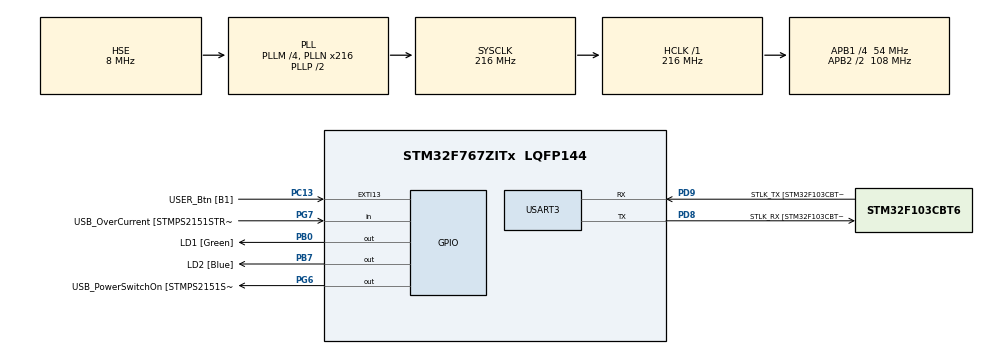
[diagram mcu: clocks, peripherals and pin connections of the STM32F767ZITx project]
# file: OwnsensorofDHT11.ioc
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Mcu.Family=STM32F7
Mcu.Name=STM32F767ZITx
Mcu.Package=LQFP144
NVIC.PriorityGroup=NVIC_PRIORITYGROUP_4
PA1.GPIO_Label=RMII_REF_CLK [LAN8742A-CZ-TR_REFCLK0]
PA1.Signal=ETH_REF_CLK
PA10.GPIO_Label=USB_ID
PA10.Signal=USB_OTG_FS_ID
PA11.GPIO_Label=USB_DM
PA11.Signal=USB_OTG_FS_DM
PA12.GPIO_Label=USB_DP
PA12.Signal=USB_OTG_FS_DP
PA13.GPIO_Label=TMS
PA13.Mode=Serial_Wire
PA13.Signal=SYS_JTMS-SWDIO
PA14.GPIO_Label=TCK
PA14.Mode=Serial_Wire
PA14.Signal=SYS_JTCK-SWCLK
PA2.GPIO_Label=RMII_MDIO [LAN8742A-CZ-TR_MDIO]
PA2.Signal=ETH_MDIO
PA7.GPIO_Label=RMII_CRS_DV [LAN8742A-CZ-TR_CRS_DV]
PA7.Signal=ETH_CRS_DV
PA8.GPIO_Label=USB_SOF [TP1]
PA8.Signal=USB_OTG_FS_SOF
PA9.GPIO_Label=USB_VBUS
PA9.Signal=USB_OTG_FS_VBUS
PB0.GPIO_Label=LD1 [Green]
PB0.Signal=GPIO_Output
PB13.GPIO_Label=RMII_TXD1 [LAN8742A-CZ-TR_TXD1]
PB13.Signal=ETH_TXD1
PB3.GPIO_Label=SWO
PB3.Signal=SYS_JTDO-SWO
PB7.GPIO_Label=LD2 [Blue]
PB7.Signal=GPIO_Output
PC1.GPIO_Label=RMII_MDC [LAN8742A-CZ-TR_MDC]
PC1.Signal=ETH_MDC
PC13.GPIO_Label=USER_Btn [B1]
PC13.Signal=GPXTI13
PC14/OSC32_IN.Mode=LSE-External-Oscillator
PC14/OSC32_IN.Signal=RCC_OSC32_IN
PC15/OSC32_OUT.Mode=LSE-External-Oscillator
PC15/OSC32_OUT.Signal=RCC_OSC32_OUT
PC4.GPIO_Label=RMII_RXD0 [LAN8742A-CZ-TR_RXD0]
PC4.Signal=ETH_RXD0
PC5.GPIO_Label=RMII_RXD1 [LAN8742A-CZ-TR_RXD1]
PC5.Signal=ETH_RXD1
PD8.GPIO_Label=STLK_RX [STM32F103CBT6_PA3]
PD8.Mode=Asynchronous
PD8.Signal=USART3_TX
PD9.GPIO_Label=STLK_TX [STM32F103CBT6_PA2]
PD9.Mode=Asynchronous
PD9.Signal=USART3_RX
PG11.GPIO_Label=RMII_TX_EN [LAN8742A-CZ-TR_TXEN]
PG11.Signal=ETH_TX_EN
PG13.GPIO_Label=RMII_TXD0 [LAN8742A-CZ-TR_TXD0]
PG13.Signal=ETH_TXD0
PG6.GPIO_Label=USB_PowerSwitchOn [STMPS2151STR_EN]
PG6.Signal=GPIO_Output
PG7.GPIO_Label=USB_OverCurrent [STMPS2151STR_FAULT]
PG7.Signal=GPIO_Input
PH0/OSC_IN.GPIO_Label=MCO [STM32F103CBT6_PA8]
PH0/OSC_IN.Mode=HSE-External-Oscillator
PH0/OSC_IN.Signal=RCC_OSC_IN
PH1/OSC_OUT.Mode=HSE-External-Oscillator
PH1/OSC_OUT.Signal=RCC_OSC_OUT
ProjectManager.HeapSize=0x200
ProjectManager.StackSize=0x400
ProjectManager.TargetToolchain=MDK-ARM V5.27
RCC.48MHZClocksFreq_Value=24000000
RCC.AHBFreq_Value=216000000
RCC.APB1CLKDivider=RCC_HCLK_DIV4
RCC.APB1Freq_Value=54000000
RCC.APB1TimFreq_Value=108000000
RCC.APB2CLKDivider=RCC_HCLK_DIV2
RCC.APB2Freq_Value=108000000
RCC.APB2TimFreq_Value=216000000
RCC.CortexFreq_Value=216000000
RCC.HCLKFreq_Value=216000000
RCC.HSE_VALUE=8000000
RCC.HSI_VALUE=16000000
RCC.PLLM=4
RCC.PLLMUL=RCC_PLL_MUL9
RCC.PLLN=216
RCC.PLLQ=4
RCC.PLLSourceVirtual=RCC_PLLSOURCE_HSE
RCC.PRESCALERUSB=RCC_USBCLKSOURCE_PLL_DIV1_5
RCC.SYSCLKFreq_VALUE=216000000
RCC.SYSCLKSource=RCC_SYSCLKSOURCE_PLLCLK
RCC.SYSCLKSourceVirtual=RCC_SYSCLKSOURCE_PLLCLK
RCC.USBFreq_Value=108000000
RCC.VCOOutputFreq_Value=432000000
TIM6.AutoReloadPreload=TIM_AUTORELOAD_PRELOAD_ENABLE
TIM6.Period=50000-1
TIM6.Prescaler=107
USART3.VirtualMode-Asynchronous=VM_ASYNC
VP_TIM6_VS_ClockSourceINT.Mode=Enable_Timer
board=NUCLEO-F767ZI

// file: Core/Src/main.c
/* USER CODE BEGIN Header */
/**
  ******************************************************************************
  * @file           : main.c
  * @brief          : Main program body
  ******************************************************************************
  * @attention
  *
  * <h2><center>&copy; Copyright (c) 2021 STMicroelectronics.
  * All rights reserved.</center></h2>
  *
  * This software component is licensed by ST under BSD 3-Clause license,
  * the "License"; You may not use this file except in compliance with the
  * License. You may obtain a copy of the License at:
  *                        opensource.org/licenses/BSD-3-Clause
  *
  ******************************************************************************
  */
/* USER CODE END Header */
#include "main.h"
#include "tim.h"
#include "usart.h"
#include "gpio.h"

/* USER CODE BEGIN Includes */

#include "stdio.h"
#include "string.h"
#include "DHT11.h"

/* USER CODE END Includes */

/* USER CODE BEGIN PD */

/**********************************串口显示打印函数定义************************/
#ifdef __GNUC__
#define PUTCHAR_PROTOTYPE int __io_putchar(int ch)
#else
#define PUTCHAR_PROTOTYPE int fputc(int ch, FILE *f)
#endif /* __GNUC__ */
#define SerialOut printf
/******************************************结束********************************/

/* USER CODE END PD */

/* USER CODE BEGIN PV */

DHT1_Data data = {

		.humi_int = 0,
		.humi_deci = 0,

		.temp_int = 0,
		.temp_deci = 0,

		.check_sum = 0
};

/* USER CODE END PV */

void SystemClock_Config(void);

int main(void)
{
  /* USER CODE BEGIN 1 */

//	uint8_t temperature = 0;
//	uint8_t humidity = 0;

  /* USER CODE END 1 */

  /* MCU Configuration--------------------------------------------------------*/

  /* Reset of all peripherals, Initializes the Flash interface and the Systick. */
  HAL_Init();

  /* Configure the system clock */
  SystemClock_Config();

  /* Initialize all configured peripherals */
  MX_GPIO_Init();
  MX_USART3_UART_Init();
  MX_TIM6_Init();
  /* USER CODE BEGIN 2 */

	MX_GPIO_Init_outpt();                                                                                             // 刚上电时确保上拉电阻拉高一直保持高电平

	printf("DHT11 上电后（DHT11 上电后要等待 1S以上以越过不稳定状态在此期间不能发送任何指令）,之后再发指令\n");

	HAL_Delay(2000);

  /* USER CODE END 2 */

  /* Infinite loop */
  /* USER CODE BEGIN WHILE */
  while (1)
  {
		if(request_start())

			if(DHT1_Orignaldata(&data))

				printf("湿度= %d 温度 = %.1f\n",data.humi_int,(data.temp_int*1.0+data.temp_deci*0.1));

		MX_GPIO_Init_outpt();

		HAL_Delay(1000);

    /* USER CODE END WHILE */

  }
}

void SystemClock_Config(void)
{
  RCC_OscInitTypeDef RCC_OscInitStruct = {0};
  RCC_ClkInitTypeDef RCC_ClkInitStruct = {0};
  RCC_PeriphCLKInitTypeDef PeriphClkInitStruct = {0};

  /** Configure LSE Drive Capability
  */
  HAL_PWR_EnableBkUpAccess();
  /** Configure the main internal regulator output voltage
  */
  __HAL_RCC_PWR_CLK_ENABLE();
  __HAL_PWR_VOLTAGESCALING_CONFIG(PWR_REGULATOR_VOLTAGE_SCALE1);
  /** Initializes the RCC Oscillators according to the specified parameters
  * in the RCC_OscInitTypeDef structure.
  */
  RCC_OscInitStruct.OscillatorType = RCC_OSCILLATORTYPE_HSE;
  RCC_OscInitStruct.HSEState = RCC_HSE_ON;
  RCC_OscInitStruct.PLL.PLLState = RCC_PLL_ON;
  RCC_OscInitStruct.PLL.PLLSource = RCC_PLLSOURCE_HSE;
  RCC_OscInitStruct.PLL.PLLM = 4;
  RCC_OscInitStruct.PLL.PLLN = 216;
  RCC_OscInitStruct.PLL.PLLP = RCC_PLLP_DIV2;
  RCC_OscInitStruct.PLL.PLLQ = 4;
  if (HAL_RCC_OscConfig(&RCC_OscInitStruct) != HAL_OK)
  {
    Error_Handler();
  }
  /** Activate the Over-Drive mode
  */
  if (HAL_PWREx_EnableOverDrive() != HAL_OK)
  {
    Error_Handler();
  }
  /** Initializes the CPU, AHB and APB buses clocks
  */
  RCC_ClkInitStruct.ClockType = RCC_CLOCKTYPE_HCLK|RCC_CLOCKTYPE_SYSCLK
                              |RCC_CLOCKTYPE_PCLK1|RCC_CLOCKTYPE_PCLK2;
  RCC_ClkInitStruct.SYSCLKSource = RCC_SYSCLKSOURCE_PLLCLK;
  RCC_ClkInitStruct.AHBCLKDivider = RCC_SYSCLK_DIV1;
  RCC_ClkInitStruct.APB1CLKDivider = RCC_HCLK_DIV4;
  RCC_ClkInitStruct.APB2CLKDivider = RCC_HCLK_DIV2;

  if (HAL_RCC_ClockConfig(&RCC_ClkInitStruct, FLASH_LATENCY_7) != HAL_OK)
  {
    Error_Handler();
  }
  PeriphClkInitStruct.PeriphClockSelection = RCC_PERIPHCLK_USART3;
  PeriphClkInitStruct.Usart3ClockSelection = RCC_USART3CLKSOURCE_PCLK1;
  if (HAL_RCCEx_PeriphCLKConfig(&PeriphClkInitStruct) != HAL_OK)
  {
    Error_Handler();
  }
}

/* USER CODE BEGIN 4 */

int fputc(int ch,FILE *f)
{
	HAL_UART_Transmit(&huart3,(uint8_t *)&ch,1,10);
	while (__HAL_UART_GET_FLAG(&huart3, UART_FLAG_TXE) == RESET);
	return 0;
}

/* USER CODE END 4 */

void Error_Handler(void)
{
}

/************************ (C) COPYRIGHT STMicroelectronics *****END OF FILE****/
